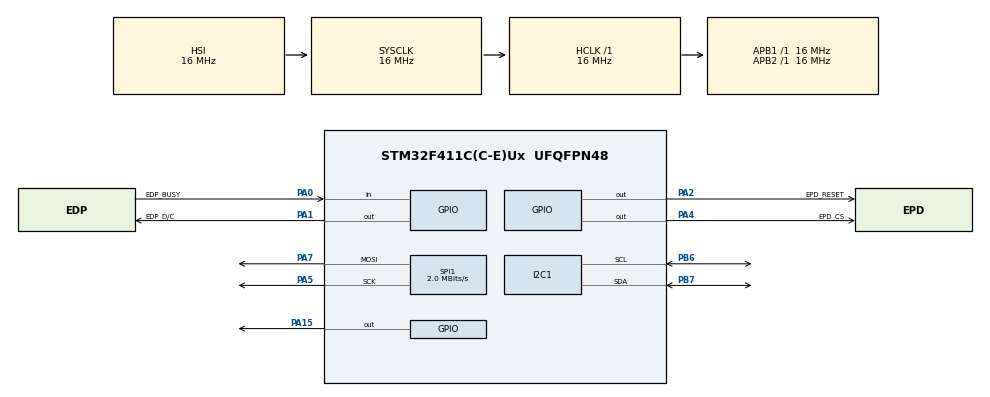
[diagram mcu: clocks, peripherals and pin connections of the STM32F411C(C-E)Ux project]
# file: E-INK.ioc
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Mcu.Family=STM32F4
Mcu.Name=STM32F411C(C-E)Ux
Mcu.Package=UFQFPN48
NVIC.PriorityGroup=NVIC_PRIORITYGROUP_4
PA0-WKUP.GPIO_Label=EDP_BUSY
PA0-WKUP.Signal=GPIO_Input
PA1.GPIO_Label=EDP_D/C
PA1.Signal=GPIO_Output
PA13.Mode=Serial_Wire
PA13.Signal=SYS_JTMS-SWDIO
PA14.Mode=Serial_Wire
PA14.Signal=SYS_JTCK-SWCLK
PA15.Signal=GPIO_Output
PA2.GPIO_Label=EPD_RESET
PA2.Signal=GPIO_Output
PA4.GPIO_Label=EPD_CS
PA4.Signal=GPIO_Output
PA5.Mode=TX_Only_Simplex_Unidirect_Master
PA5.Signal=SPI1_SCK
PA7.Mode=TX_Only_Simplex_Unidirect_Master
PA7.Signal=SPI1_MOSI
PB6.Mode=I2C
PB6.Signal=I2C1_SCL
PB7.Mode=I2C
PB7.Signal=I2C1_SDA
PH0\ -\ OSC_IN.Mode=HSE-External-Oscillator
PH0\ -\ OSC_IN.Signal=RCC_OSC_IN
PH1\ -\ OSC_OUT.Mode=HSE-External-Oscillator
PH1\ -\ OSC_OUT.Signal=RCC_OSC_OUT
ProjectManager.HeapSize=0x200
ProjectManager.StackSize=0x400
ProjectManager.TargetToolchain=STM32CubeIDE
RCC.AHBFreq_Value=16000000
RCC.APB1Freq_Value=16000000
RCC.APB2Freq_Value=16000000
RCC.CortexFreq_Value=16000000
RCC.HSE_VALUE=25000000
RCC.HSI_VALUE=16000000
RCC.LSE_VALUE=32768
RCC.SYSCLKFreq_VALUE=16000000
RCC.VCOOutputFreq_Value=192000000
SPI1.BaudRatePrescaler=SPI_BAUDRATEPRESCALER_8
SPI1.CLKPolarity=SPI_POLARITY_LOW
SPI1.CalculateBaudRate=2.0 MBits/s
SPI1.Direction=SPI_DIRECTION_2LINES
SPI1.Mode=SPI_MODE_MASTER
SPI1.VirtualType=VM_MASTER
board=custom

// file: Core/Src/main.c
/* USER CODE BEGIN Header */
/**
  ******************************************************************************
  * @file           : main.c
  * @brief          : Main program body
  ******************************************************************************
  * @attention
  *
  * Copyright (c) 2025 STMicroelectronics.
  * All rights reserved.
  *
  * This software is licensed under terms that can be found in the LICENSE file
  * in the root directory of this software component.
  * If no LICENSE file comes with this software, it is provided AS-IS.
  *
  ******************************************************************************
  */
/* USER CODE END Header */
#include "main.h"

/* USER CODE BEGIN Includes */
#include "stm32f4xx_hal.h"
#include "SSD1680.h"
#include "bme280.h"
#include "bme68x.h"
#include "stdio.h"
#include "string.h"
#include "portbme.h"
/* USER CODE END Includes */

/* USER CODE BEGIN PD */
#define EPD_CS_Pin       	GPIO_PIN_4
#define EPD_CS_GPIO_Port 	GPIOA
#define EPD_DC_Pin       	GPIO_PIN_1
#define EPD_DC_GPIO_Port 	GPIOA
#define EPD_RST_Pin      	GPIO_PIN_2
#define EPD_RST_GPIO_Port 	GPIOA
#define EPD_BUSY_Pin     	GPIO_PIN_0
#define EPD_BUSY_GPIO_Port 	GPIOA

#define TEMP 75

// Адрес BME688 (SDO подключен к VCC для адреса 0x77)
#define BME688_ADDR    BME68X_I2C_ADDR_HIGH  // 0x77
/* USER CODE END PD */

I2C_HandleTypeDef hi2c1;
SPI_HandleTypeDef hspi1;
/* USER CODE BEGIN PV */
SSD1680_HandleTypeDef hepd;

uint8_t scd41_addr = 0x62 << 1; //7 bit address shifted left
uint16_t co2 = 0; //co2 in ppm
float tempscd; // temp in F
float rh; //rh in %

// BME688 variables
struct bme68x_dev bme688_sensor;
uint8_t bme688_addr = BME688_ADDR;
uint8_t bme688_sensorI2cAddress = BME688_ADDR;

// BME688 configuration
struct bme68x_conf config0;
struct bme68x_heatr_conf heaterConfig0;
struct bme68x_data data;
uint16_t sample_count = 0;
/* USER CODE END PV */

void SystemClock_Config(void);
static void MX_GPIO_Init(void);
static void MX_SPI1_Init(void);
static void MX_I2C1_Init(void);

/* USER CODE BEGIN PFP */

void scd41_start(void);
uint8_t scd41_read(uint16_t *co2, float *temp, float *rh);

/* USER CODE END PFP */

int main(void)
{

  /* MCU Configuration--------------------------------------------------------*/

  /* Reset of all peripherals, Initializes the Flash interface and the Systick. */
  HAL_Init();

  /* Configure the system clock */
  SystemClock_Config();

  /* Initialize all configured peripherals */
  MX_GPIO_Init();
  MX_SPI1_Init();
  MX_I2C1_Init();
  /* USER CODE BEGIN 2 */

  bme280_init(&hi2c1, BME280_OVERSAMPLE_X1, BME280_OVERSAMPLE_X1, BME280_OVERSAMPLE_X1, BME280_NORMAL_MODE, BME280_STANDBY_0_5MS, BME280_FILTER_COEFF_16);

  // Initialize BME688 sensors
  memset(&bme688_sensor, 0, sizeof(bme688_sensor));
  bme688_sensor.intf = BME68X_I2C_INTF;
  bme688_sensor.read = bme68x_i2c_read;
  bme688_sensor.write = bme68x_i2c_write;
  bme688_sensor.delay_us = bme68x_delay_us;
  bme688_sensor.intf_ptr = &bme688_sensorI2cAddress;
  bme688_sensor.amb_temp = 25;

  // Initialize BME688 sensors
  int8_t initResult = bme68x_interface_init(&bme688_sensor, BME68X_I2C_INTF);

  if (initResult == BME68X_OK) {
      initResult = bme68x_init(&bme688_sensor);
      bme68x_check_rslt("bme68x_init", initResult);
  }

  // Configure BME688
  if (initResult == BME68X_OK) {
      config0.filter = BME68X_FILTER_OFF;
      config0.odr = BME68X_ODR_NONE;
      config0.os_hum = BME68X_OS_2X;
      config0.os_pres = BME68X_OS_1X;
      config0.os_temp = BME68X_OS_2X;

      initResult = bme68x_set_conf(&config0, &bme688_sensor); // Исправлено
      bme68x_check_rslt("bme68x_set_conf", initResult);
  }

  if (initResult == BME68X_OK) {
      heaterConfig0.enable = BME68X_ENABLE;
      heaterConfig0.heatr_temp = 300;
      heaterConfig0.heatr_dur = 100;

      initResult = bme68x_set_heatr_conf(BME68X_FORCED_MODE, &heaterConfig0, &bme688_sensor); // Исправлено
      bme68x_check_rslt("bme68x_set_heatr_conf", initResult);
  }

  // Заполнение параметров дисплея
	hepd.SPI_Handle = &hspi1;  		// Ваш SPI-хендл
	hepd.SPI_Timeout = 1000;
	hepd.CS_Port = EPD_CS_GPIO_Port;
	hepd.CS_Pin = EPD_CS_Pin;
	hepd.DC_Port = EPD_DC_GPIO_Port;
	hepd.DC_Pin = EPD_DC_Pin;
	hepd.RESET_Port = EPD_RST_GPIO_Port;
	hepd.RESET_Pin = EPD_RST_Pin;
	hepd.BUSY_Port = EPD_BUSY_GPIO_Port;
	hepd.BUSY_Pin = EPD_BUSY_Pin;
	hepd.Color_Depth = 2;      		// Два цвета (черный + красный)
	hepd.Scan_Mode = NarrowScan; 	// Режим сканирования
	hepd.Resolution_X = 128;   		// Ширина дисплея
	hepd.Resolution_Y = 256;   		// Высота дисплея

	// Инициализация дисплея
	SSD1680_Init(&hepd);
	SSD1680_Border(&hepd, ColorWhite);

  /* USER CODE END 2 */

  /* Infinite loop */
  /* USER CODE BEGIN WHILE */
	scd41_start();
	HAL_Delay(5000);  // warm-up delay

	while (1)
	{
		float temp = bme280_get_temperature();
		float pressure = bme280_get_pressure() / 133.32;
		float h = bme280_get_humidity();

		char temp_str[20];
		char pressure_str[20];
		char h_str[20];
		char temp_scd41[20];
		char h_scd41[20];
		char co2_scd41[20];
		char bme688_temp[20];
		char bme688_hum[20];
		char bme688_pres[20];
		char bme688_gas[20];

		scd41_read(&co2, &tempscd, &rh);

    snprintf(temp_str, sizeof(temp_str), "TEMP %.1f\xF8" "C", temp);
    snprintf(h_str, sizeof(h_str), "HUMID %.1f%%", h);
    snprintf(pressure_str, sizeof(pressure_str), "PRESS %.0f", pressure);
    snprintf(temp_scd41, sizeof(temp_scd41), "TEMP41 %.1f\xF8" "C", tempscd);
    snprintf(h_scd41, sizeof(h_scd41), "HUM41 %.1f%%", rh);
    snprintf(co2_scd41, sizeof(co2_scd41), "CO2 %.1d", co2);

		// Read BME688 data
    int8_t setModeResult = bme68x_set_op_mode(BME68X_FORCED_MODE, &bme688_sensor);
    uint8_t n_fields = 0;  // Объявляем здесь, чтобы была доступна после блока

    if (setModeResult == BME68X_OK) {
      uint32_t del_period = bme68x_get_meas_dur(BME68X_FORCED_MODE, &config0, &bme688_sensor) + (heaterConfig0.heatr_dur * 1000);
      bme688_sensor.delay_us(del_period, bme688_sensor.intf_ptr);

      int8_t getDataResult = bme68x_get_data(BME68X_FORCED_MODE, &data, &n_fields, &bme688_sensor);

      if (getDataResult == BME68X_OK && n_fields > 0) {
          // Форматирование данных BME688 с плавающей точкой
          snprintf(bme688_temp, sizeof(bme688_temp), "B0T: %.1fC", data.temperature);
          snprintf(bme688_hum, sizeof(bme688_hum), "B0H: %.1f%%", data.humidity);
          snprintf(bme688_pres, sizeof(bme688_pres), "B0P: %.0f", data.pressure / 100.0f * 0.75f);
          snprintf(bme688_gas, sizeof(bme688_gas), "B0G: %.0f", data.gas_resistance);
      } else {
          // Обработка ошибки получения данных
          strcpy(bme688_temp, "B0T: ERR");
          strcpy(bme688_hum, "B0H: ERR");
          strcpy(bme688_pres, "B0P: ERR");
          strcpy(bme688_gas, "B0G: ERR");
          if (getDataResult != BME68X_OK) {
              bme68x_check_rslt("bme68x_get_data", getDataResult);
          }
      }
    } else {
      bme68x_check_rslt("bme68x_set_op_mode", setModeResult);
      // Обработка ошибки установки режима
      strcpy(bme688_temp, "B0T: ---");
      strcpy(bme688_hum, "B0H: ---");
      strcpy(bme688_pres, "B0P: ---");
      strcpy(bme688_gas, "B0G: ---");
    }

		SSD1680_Clear(&hepd, ColorWhite);

		Bar_8(1, 20, 100, 8, 148);
		Bar_8(0, 40, 100, 32, 148);
		Bar_8(1, 60, 100, 56, 148);
		Bar_8(0, 80, 100, 80, 148);

		SSD1680_VerticalText(&hepd, 88, 148, temp_str, &cp866_8x8_r);
		SSD1680_VerticalText(&hepd, 64, 148, h_str, &cp866_8x8_r);
		SSD1680_VerticalText(&hepd, 40, 148, pressure_str, &cp866_8x8_r);
		SSD1680_VerticalText(&hepd, 16, 148, co2_scd41, &cp866_8x8_r);
		SSD1680_VerticalText(&hepd, 88, 10, temp_scd41, &cp866_8x8_r);
		SSD1680_VerticalText(&hepd, 64, 10, h_scd41, &cp866_8x8_r);

    // Display BME688 data
    SSD1680_VerticalText(&hepd, 48, 10, bme688_temp, &cp866_8x8_r);
    SSD1680_VerticalText(&hepd, 40, 10, bme688_hum, &cp866_8x8_r);
    SSD1680_VerticalText(&hepd, 32, 10, bme688_pres, &cp866_8x8_r);
    SSD1680_VerticalText(&hepd, 24, 10, bme688_gas, &cp866_8x8_r);

		SSD1680_Refresh(&hepd, FullRefresh);
		SSD1680_Wait(&hepd);

		sample_count++;
		HAL_Delay(60000);
		/* USER CODE END WHILE */

	}
}

void SystemClock_Config(void)
{
  RCC_OscInitTypeDef RCC_OscInitStruct = {0};
  RCC_ClkInitTypeDef RCC_ClkInitStruct = {0};

  /** Configure the main internal regulator output voltage
  */
  __HAL_RCC_PWR_CLK_ENABLE();
  __HAL_PWR_VOLTAGESCALING_CONFIG(PWR_REGULATOR_VOLTAGE_SCALE1);

  /** Initializes the RCC Oscillators according to the specified parameters
  * in the RCC_OscInitTypeDef structure.
  */
  RCC_OscInitStruct.OscillatorType = RCC_OSCILLATORTYPE_HSI;
  RCC_OscInitStruct.HSIState = RCC_HSI_ON;
  RCC_OscInitStruct.HSICalibrationValue = RCC_HSICALIBRATION_DEFAULT;
  RCC_OscInitStruct.PLL.PLLState = RCC_PLL_NONE;
  if (HAL_RCC_OscConfig(&RCC_OscInitStruct) != HAL_OK)
  {
    Error_Handler();
  }

  /** Initializes the CPU, AHB and APB buses clocks
  */
  RCC_ClkInitStruct.ClockType = RCC_CLOCKTYPE_HCLK|RCC_CLOCKTYPE_SYSCLK
                              |RCC_CLOCKTYPE_PCLK1|RCC_CLOCKTYPE_PCLK2;
  RCC_ClkInitStruct.SYSCLKSource = RCC_SYSCLKSOURCE_HSI;
  RCC_ClkInitStruct.AHBCLKDivider = RCC_SYSCLK_DIV1;
  RCC_ClkInitStruct.APB1CLKDivider = RCC_HCLK_DIV1;
  RCC_ClkInitStruct.APB2CLKDivider = RCC_HCLK_DIV1;

  if (HAL_RCC_ClockConfig(&RCC_ClkInitStruct, FLASH_LATENCY_0) != HAL_OK)
  {
    Error_Handler();
  }
}

static void MX_I2C1_Init(void)
{

  hi2c1.Instance = I2C1;
  hi2c1.Init.ClockSpeed = 100000;
  hi2c1.Init.DutyCycle = I2C_DUTYCYCLE_2;
  hi2c1.Init.OwnAddress1 = 0;
  hi2c1.Init.AddressingMode = I2C_ADDRESSINGMODE_7BIT;
  hi2c1.Init.DualAddressMode = I2C_DUALADDRESS_DISABLE;
  hi2c1.Init.OwnAddress2 = 0;
  hi2c1.Init.GeneralCallMode = I2C_GENERALCALL_DISABLE;
  hi2c1.Init.NoStretchMode = I2C_NOSTRETCH_DISABLE;
  if (HAL_I2C_Init(&hi2c1) != HAL_OK)
  {
    Error_Handler();
  }

}

static void MX_SPI1_Init(void)
{

  /* SPI1 parameter configuration*/
  hspi1.Instance = SPI1;
  hspi1.Init.Mode = SPI_MODE_MASTER;
  hspi1.Init.Direction = SPI_DIRECTION_2LINES;
  hspi1.Init.DataSize = SPI_DATASIZE_8BIT;
  hspi1.Init.CLKPolarity = SPI_POLARITY_LOW;
  hspi1.Init.CLKPhase = SPI_PHASE_1EDGE;
  hspi1.Init.NSS = SPI_NSS_SOFT;
  hspi1.Init.BaudRatePrescaler = SPI_BAUDRATEPRESCALER_8;
  hspi1.Init.FirstBit = SPI_FIRSTBIT_MSB;
  hspi1.Init.TIMode = SPI_TIMODE_DISABLE;
  hspi1.Init.CRCCalculation = SPI_CRCCALCULATION_DISABLE;
  hspi1.Init.CRCPolynomial = 10;
  if (HAL_SPI_Init(&hspi1) != HAL_OK)
  {
    Error_Handler();
  }

}

static void MX_GPIO_Init(void)
{
  GPIO_InitTypeDef GPIO_InitStruct = {0};

  /* GPIO Ports Clock Enable */
  __HAL_RCC_GPIOH_CLK_ENABLE();
  __HAL_RCC_GPIOA_CLK_ENABLE();
  __HAL_RCC_GPIOB_CLK_ENABLE();

  /*Configure GPIO pin Output Level */
  HAL_GPIO_WritePin(GPIOA, EDP_D_C_Pin|EPD_RESET_Pin|EPD_CS_Pin|GPIO_PIN_15, GPIO_PIN_RESET);

  /*Configure GPIO pin : EDP_BUSY_Pin */
  GPIO_InitStruct.Pin = EDP_BUSY_Pin;
  GPIO_InitStruct.Mode = GPIO_MODE_INPUT;
  GPIO_InitStruct.Pull = GPIO_NOPULL;
  HAL_GPIO_Init(EDP_BUSY_GPIO_Port, &GPIO_InitStruct);

  /*Configure GPIO pins : EDP_D_C_Pin EPD_RESET_Pin EPD_CS_Pin PA15 */
  GPIO_InitStruct.Pin = EDP_D_C_Pin|EPD_RESET_Pin|EPD_CS_Pin|GPIO_PIN_15;
  GPIO_InitStruct.Mode = GPIO_MODE_OUTPUT_PP;
  GPIO_InitStruct.Pull = GPIO_NOPULL;
  GPIO_InitStruct.Speed = GPIO_SPEED_FREQ_LOW;
  HAL_GPIO_Init(GPIOA, &GPIO_InitStruct);

}

/* USER CODE BEGIN 4 */

//start periodic measurement (command 0x21B1)
void scd41_start(void){
  uint8_t cmd[2] = {0x21, 0xB1}; //split command into 2 bytes
  HAL_I2C_Master_Transmit(&hi2c1, scd41_addr, cmd, 2, HAL_MAX_DELAY);
}

//read measurement (command 0xEC05)
uint8_t scd41_read(uint16_t *co2, float *temp, float *rh){
  uint8_t cmd[2] = {0xEC, 0x05};
  uint8_t rx[9];

  HAL_I2C_Master_Transmit(&hi2c1, scd41_addr, cmd, 2, HAL_MAX_DELAY);
  HAL_Delay(1);

  if (HAL_I2C_Master_Receive(&hi2c1, scd41_addr, rx, 9, HAL_MAX_DELAY) != HAL_OK)
    return 0;

  *co2 = (rx[0] << 8) | rx[1];
  uint16_t temp_raw = (rx[3] << 8) | rx[4];
  float temp_c = -45.0f + 175.0f * ((float)temp_raw / 65535.0f);
  *temp = temp_c;// * 9.0f / 5.0f + 32.0f;

  uint16_t rh_raw = (rx[6] << 8) | rx[7];
  *rh = 100.0f * ((float)rh_raw / 65535.0f);

  return 1;
}

void Bar_16(uint8_t color, uint8_t num, uint8_t length, uint8_t x, uint8_t y) {
    uint8_t elements = length * 2;
    uint8_t line[elements];
    uint8_t numx = num*2;

    // Определяем паттерны для разных цветов
    const uint8_t patterns[2][3] = {
        {0x00, 0xFE, 0x7F}, // Black: fill, odd, even
        {0xFF, 0x01, 0x80}  // Red:   fill, odd, even
    };

    uint8_t fill = patterns[color][0];
    uint8_t odd_pattern = patterns[color][1];
    uint8_t even_pattern = patterns[color][2];

    uint8_t end_index = (numx % 2) ? elements - 2 : elements;
    uint8_t condition = (numx % 2) ? 1 : 0;

    for(int i = 2; i < end_index; i++) {
        if(condition ? (i <= numx) : (i < numx)) {
            line[i] = fill;
        } else {
            line[i] = (i % 2) ? odd_pattern : even_pattern;
        }
    }

    line[0] = line[1] = fill;
    line[elements-2] = line[elements-1] = fill;

    // Передаем данные в драйвер
    if(color) {
        SSD1680_SetRegion(&hepd, x, y, 16, length, NULL, line);
    } else {
        SSD1680_SetRegion(&hepd, x, y, 16, length, line, NULL);
    }
}

void Bar_8(uint8_t color, uint8_t num, uint8_t length, uint8_t x, uint8_t y) {
    uint8_t line[length];

    // Определяем паттерны для разных цветов
    const uint8_t patterns[2][2] = {
        {0x00, 0x7E}, // Black: fill, pattern
        {0xFF, 0x81}  // Red:   fill, pattern
    };

    uint8_t fill = patterns[color][0];
    uint8_t pattern = patterns[color][1];

    for(int i = 1; i < length; i++) {
        if(i <= num) {
            line[i] = fill;
        } else {
            line[i] = pattern;
        }
    }

    line[0] = fill;
    line[length-1] = fill;

    // Передаем данные в драйвер
    if(color) {
        SSD1680_SetRegion(&hepd, x, y, 8, length, NULL, line);
    } else {
        SSD1680_SetRegion(&hepd, x, y, 8, length, line, NULL);
    }
}
/* USER CODE END 4 */

void Error_Handler(void)
{
  __disable_irq();
  while (1)
  {
  }
}
